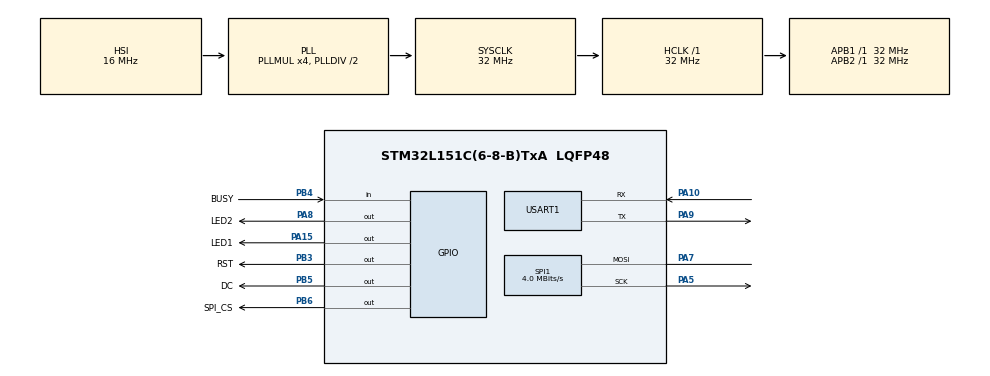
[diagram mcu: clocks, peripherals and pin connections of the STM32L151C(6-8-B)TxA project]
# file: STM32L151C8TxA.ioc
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Mcu.Family=STM32L1
Mcu.Name=STM32L151C(6-8-B)TxA
Mcu.Package=LQFP48
NVIC.PriorityGroup=NVIC_PRIORITYGROUP_4
NVIC.USART1_IRQn=true\:0\:0\:false\:false\:true\:true\:true
PA10.Mode=Asynchronous
PA10.Signal=USART1_RX
PA15.GPIO_Label=LED1
PA15.GPIO_PuPd=GPIO_PULLUP
PA15.Signal=GPIO_Output
PA5.Mode=Simplex_Bidirectional_Master
PA5.Signal=SPI1_SCK
PA7.Mode=Simplex_Bidirectional_Master
PA7.Signal=SPI1_MOSI
PA8.GPIO_Label=LED2
PA8.GPIO_PuPd=GPIO_PULLUP
PA8.Signal=GPIO_Output
PA9.Mode=Asynchronous
PA9.Signal=USART1_TX
PB3.GPIO_Label=RST
PB3.GPIO_PuPd=GPIO_PULLUP
PB3.Signal=GPIO_Output
PB4.GPIO_Label=BUSY
PB4.GPIO_PuPd=GPIO_PULLUP
PB4.Signal=GPIO_Input
PB5.GPIO_Label=DC
PB5.GPIO_PuPd=GPIO_PULLUP
PB5.Signal=GPIO_Output
PB6.GPIO_Label=SPI_CS
PB6.GPIO_PuPd=GPIO_PULLUP
PB6.Signal=GPIO_Output
PH0-OSC_IN.Mode=HSE-External-Oscillator
PH0-OSC_IN.Signal=RCC_OSC_IN
PH1-OSC_OUT.Mode=HSE-External-Oscillator
PH1-OSC_OUT.Signal=RCC_OSC_OUT
ProjectManager.HeapSize=0x200
ProjectManager.StackSize=0x400
ProjectManager.TargetToolchain=MDK-ARM V5
RCC.48MHZClocksFreq_Value=32000000
RCC.AHBFreq_Value=32000000
RCC.APB1Freq_Value=32000000
RCC.APB1TimFreq_Value=32000000
RCC.APB2Freq_Value=32000000
RCC.APB2TimFreq_Value=32000000
RCC.HCLKFreq_Value=32000000
RCC.HSE_VALUE=8000000
RCC.HSI_VALUE=16000000
RCC.LSE_VALUE=32768
RCC.MSI_VALUE=2097000
RCC.PLLMUL=RCC_PLL_MUL8
RCC.PLLSourceVirtual=RCC_PLLSOURCE_HSE
RCC.SYSCLKFreq_VALUE=32000000
RCC.SYSCLKSource=RCC_SYSCLKSOURCE_PLLCLK
RCC.VCOOutputFreq_Value=64000000
SPI1.BaudRatePrescaler=SPI_BAUDRATEPRESCALER_8
SPI1.CalculateBaudRate=4.0 MBits/s
SPI1.Direction=SPI_DIRECTION_1LINE
SPI1.Mode=SPI_MODE_MASTER
SPI1.VirtualType=VM_MASTER
USART1.VirtualMode=VM_ASYNC
board=custom

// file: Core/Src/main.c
/* USER CODE BEGIN Header */
/**
  ******************************************************************************
  * @file           : main.c
  * @brief          : Main program body
  ******************************************************************************
  * @attention
  *
  * <h2><center>&copy; Copyright (c) 2020 STMicroelectronics.
  * All rights reserved.</center></h2>
  *
  * This software component is licensed by ST under BSD 3-Clause license,
  * the "License"; You may not use this file except in compliance with the
  * License. You may obtain a copy of the License at:
  *                        opensource.org/licenses/BSD-3-Clause
  *
  ******************************************************************************
  */
/* USER CODE END Header */
#include "main.h"
#include "spi.h"
#include "usart.h"
#include "gpio.h"

/* USER CODE BEGIN Includes */
#include "epd2in13.h"
#include "epdif.h"
#include "epdpaint.h"
#include "imagedata.h"
#include <stdlib.h>
#include "pcf8563/pcf8563.h"
#include "si7020/si7020_iic.h"
#include "key/key.h"
#include "adc.h"
#include "epddisp.h"

/* USER CODE END Includes */

void SystemClock_Config(void);

/* USER CODE BEGIN 0 */

void enterStopMode(void)
{

//	__HAL_RCC_GPIOB_CLK_DISABLE();
	HAL_PWR_EnterSTOPMode(PWR_LOWPOWERREGULATOR_ON,PWR_STOPENTRY_WFI);
}
void SetUnusedPin()
{
	 GPIO_InitTypeDef GPIO_Initure;

	__HAL_RCC_GPIOA_CLK_ENABLE();   //使能GPIOC时钟

    //PC11,12初始化设置
    GPIO_Initure.Pin|=GPIO_PIN_2|GPIO_PIN_3|GPIO_PIN_11|GPIO_PIN_12;
    GPIO_Initure.Mode=GPIO_MODE_ANALOG;  //推挽输出
//    GPIO_Initure.Pull=GPIO_PULLUP;          //上拉
    GPIO_Initure.Speed=GPIO_SPEED_FREQ_LOW;     //高速
    HAL_GPIO_Init(SI7020_SDA_GPIO_Port,&GPIO_Initure);
	__HAL_RCC_GPIOA_CLK_DISABLE();
}
/* USER CODE END 0 */

//extern uint8_t time_buffer[8];
//uint8_t time_buffer[8]={0};
//uint8_t time_buffer1[8]={0};
extern double si7020_temperature;
extern double si7020_humidity;
int main(void)
{
	/* USER CODE BEGIN 1 */

	unsigned long time_start_ms;
	unsigned long time_now_s;
	char temp;
	uint16_t adcx;
	float temp1;
	uint16_t stop_counter;
	/* USER CODE END 1 */

	/* MCU Configuration--------------------------------------------------------*/

	/* Reset of all peripherals, Initializes the Flash interface and the Systick. */

	HAL_Init();

	/* Configure the system clock */
	SystemClock_Config();

	/* Initialize all configured peripherals */
	MX_GPIO_Init();
	MX_SPI1_Init();
	PCF8563_IIC_Init();
	PCF8563_SetINT();
	SI7020_IIC_Init();
	MX_USART1_UART_Init();
//	PCF8563_WriteTime();
	keyInit();
//	MX_ADC_Init();
	/* USER CODE BEGIN 2 */
	rt_kprintf("Init Finsh!\n");
	epdDispFullUpdate();
//	rt_thread_mdelay(1000);
	MX_USART1_UART_Init();
	setPartialUpdate();
//SetUnusedPin();
//  if (EPD_Init(&epd, lut_partial_update) != 0) {     //设置局部刷新
//    return -1;
//  }

  /**
   *  there are 2 memory areas embedded in the e-paper display
   *  and once the display is refreshed, the memory area will be auto-toggled,
   *  i.e. the next action of SetFrameMemory will set the other memory area
   *  therefore you have to set the frame memory and refresh the display twice.
   */
//
//  Paint_Init (&paint, frame_buffer, 64, 64);
//  Paint_Clear(&paint, UNCOLORED);
//  EPD_SetFrameMemory(&epd, IMAGE_DATA, 0, 0, epd.width, epd.height);
//  EPD_DisplayFrame(&epd);
//  EPD_SetFrameMemory(&epd, IMAGE_DATA, 0, 0, epd.width, epd.height);
//  EPD_DisplayFrame(&epd);

//  time_start_ms = HAL_GetTick();

  /* USER CODE END 2 */

  /* Infinite loop */
  while (1)
  {

    /* USER CODE BEGIN 3 */
//	  time_now_s = (HAL_GetTick() - time_start_ms) / 1000;
//    time_string[0] = time_now_s / 60 / 10 + '0';
//    time_string[1] = time_now_s / 60 % 10 + '0';
//    time_string[3] = time_now_s % 60 / 10 + '0';
//    time_string[4] = time_now_s % 60 % 10 + '0';

//    Paint_SetRotate(&paint, ROTATE_90);

//    Paint_Clear(&paint, UNCOLORED);
//    Paint_DrawStringAt(&paint, 0, 0, time_table[time_now_s / 60 / 10], &Font80, COLORED);
//	  Paint_DrawStringAt(&paint, 40, 0, time_table[time_now_s / 60% 10], &Font80, COLORED);
//	  Paint_DrawStringAt(&paint, 70, 0, ":", &Font80, COLORED);	//：
//	  Paint_DrawStringAt(&paint, 100, 0, time_table[time_now_s % 60 / 10], &Font80, COLORED);
//	  Paint_DrawStringAt(&paint, 140, 0, time_table[time_now_s % 60 % 10], &Font80, COLORED);
//    EPD_SetFrameMemory(&epd, frame_buffer, 0, 0, Paint_GetWidth(&paint), Paint_GetHeight(&paint));
//    EPD_DisplayFrame(&epd);
////
//	  HAL_GPIO_TogglePin(LED1_GPIO_Port,LED1_Pin);
//	  HAL_GPIO_TogglePin(LED2_GPIO_Port,LED2_Pin);
//	  rt_thread_mdelay(1000);
	  /*  读取ADC值 start
		adcx=Get_Adc_Average(ADC_CHANNEL_1,20);
		temp1=(float)adcx*(3.3/4096);          //获取计算后的带小数的实际电压值，比如3.1111
		adcx=temp1*1000;                            //赋值整数部分给adcx变量，因为adcx为u16整形
		rt_kprintf("adc1=%d\n",adcx);
		读取ADC值 end */
	/*    PCF8563 1分钟中断输出 start
	while(PCF85636_ReadINT()==0)
	{;}
	  HAL_GPIO_TogglePin(LED1_GPIO_Port,LED1_Pin);
	  HAL_GPIO_TogglePin(LED2_GPIO_Port,LED2_Pin);
	  PCF8563_ClearINT();

	PCF8563 1分钟中断输出 end   */
		  //pcf8563 si7020 测试 start
//	  PCF8563_ReadTime(time_buffer);
//	 rt_kprintf("%d%d:%d%d,%d%d:%d%d\n",time_buffer[0]/10,time_buffer[0]%10,time_buffer[1]/10,time_buffer[1]%10,time_buffer[5]/10,time_buffer[5]%10,time_buffer[6]/10,time_buffer[6]%10);
//	rt_kprintf("%d%d:%d%d\n",time_buffer[4]%10,time_buffer[5]%10,time_buffer[6]%10,time_buffer[7]%10);
	updateMinute();
	rt_thread_mdelay(1000);
//	si7020Measure(&si7020_temperature,&si7020_humidity);
//	rt_kprintf("temperature=%d\n",(uint16_t)(si7020_temperature*10));
//	rt_kprintf("si7020_humidity=%d\n",(uint16_t)(si7020_humidity*10));
	//	 pcf8563 si7020 测试 end
//	rt_thread_mdelay(1000);
////    EPD_DelayMs(&epd, 500);
  }
  /* USER CODE END 3 */
}

void SystemClock_Config(void)
{
  RCC_OscInitTypeDef RCC_OscInitStruct = {0};
  RCC_ClkInitTypeDef RCC_ClkInitStruct = {0};

  /** Configure the main internal regulator output voltage
  */
  __HAL_PWR_VOLTAGESCALING_CONFIG(PWR_REGULATOR_VOLTAGE_SCALE1);
  /** Initializes the RCC Oscillators according to the specified parameters
  * in the RCC_OscInitTypeDef structure.
  */
  RCC_OscInitStruct.OscillatorType = RCC_OSCILLATORTYPE_HSI;  //RCC_OSCILLATORTYPE_HSE
  RCC_OscInitStruct.HSIState = RCC_HSI_ON;
  RCC_OscInitStruct.HSICalibrationValue = RCC_HSICALIBRATION_DEFAULT;
  RCC_OscInitStruct.PLL.PLLState = RCC_PLL_ON;
  RCC_OscInitStruct.PLL.PLLSource = RCC_PLLSOURCE_HSI;  //  RCC_PLLSOURCE_HSE
  RCC_OscInitStruct.PLL.PLLMUL = RCC_PLL_MUL4;    //RCC_PLL_MUL8
  RCC_OscInitStruct.PLL.PLLDIV = RCC_PLL_DIV2;   //RCC_PLL_DIV2
  if (HAL_RCC_OscConfig(&RCC_OscInitStruct) != HAL_OK)
  {
    Error_Handler();
  }
  /** Initializes the CPU, AHB and APB buses clocks
  */
  RCC_ClkInitStruct.ClockType = RCC_CLOCKTYPE_HCLK|RCC_CLOCKTYPE_SYSCLK
                              |RCC_CLOCKTYPE_PCLK1|RCC_CLOCKTYPE_PCLK2;
  RCC_ClkInitStruct.SYSCLKSource = RCC_SYSCLKSOURCE_PLLCLK;
  RCC_ClkInitStruct.AHBCLKDivider = RCC_SYSCLK_DIV1;
  RCC_ClkInitStruct.APB1CLKDivider = RCC_HCLK_DIV1;
  RCC_ClkInitStruct.APB2CLKDivider = RCC_HCLK_DIV1;

  if (HAL_RCC_ClockConfig(&RCC_ClkInitStruct, FLASH_LATENCY_1) != HAL_OK)
  {
    Error_Handler();
  }
}

void Error_Handler(void)
{
}

/************************ (C) COPYRIGHT STMicroelectronics *****END OF FILE****/
